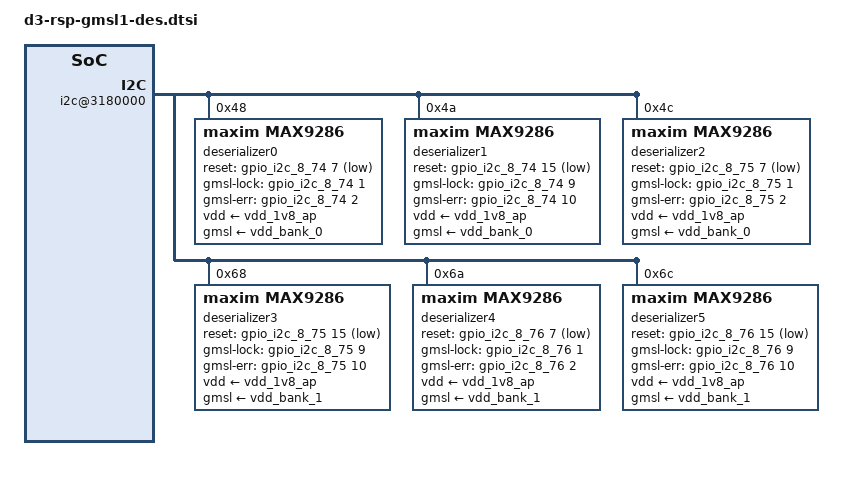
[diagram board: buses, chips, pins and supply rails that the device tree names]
/*
 * Copyright (c) 2018-2019, D3 Engineering. All rights reserved.
 *
 * This program is free software; you can redistribute it and/or modify
 * it under the terms of the GNU General Public License as published by
 * the Free Software Foundation; version 2 of the License.
 *
 * This program is distributed in the hope that it will be useful, but WITHOUT
 * ANY WARRANTY; without even the implied warranty of MERCHANTABILITY or
 * FITNESS FOR A PARTICULAR PURPOSE.  See the GNU General Public License for
 * more details.
 */

/ {
	/* I2C_CAM, DT alias i2c2 (clock: C6, data: D6) */
	i2c@3180000 {
		deserializer0: deserializer@48 {
			status = "okay";
			compatible = "maxim,max9286";
			reg = <0x48>;
			#address-cells = <1>;
			#size-cells = <0>;
			vdd-supply = <&vdd_1v8_ap>;
			gmsl-supply = <&vdd_bank_0>;
			reset-gpios = <&gpio_i2c_8_74 7 GPIO_ACTIVE_LOW>;
			gmsl-lock-gpios = <&gpio_i2c_8_74 1 GPIO_ACTIVE_HIGH>;
			gmsl-err-gpios = <&gpio_i2c_8_74 2 GPIO_ACTIVE_HIGH>;
			csi-tx-speed-mbps = <1600>;
			csi-lane-count = <2>;
			csi-continuous-clock = <1>;
			/* interrupt-parent = <&gpio_i2c_8_74>; */
			/* interrupts = <1 IRQ_TYPE_EDGE_BOTH 2 IRQ_TYPE_EDGE_BOTH>; */
			ser-addr = <0x41 0x40>;
			img-addr = <0x11 0x10>;

			/* Include this flag to configure the imager to capture triggered
			 * frames based on an external frame sync signal coming into the
			 * deserializer */
			// frame-sync-mode;

			gmsl_link0: link@0 {
				reg = <0>;
				#address-cells = <1>;
				#size-cells = <0>;
			};
		};
		deserializer1: deserializer@4a {
			status = "okay";
			compatible = "maxim,max9286";
			reg = <0x4a>;
			#address-cells = <1>;
			#size-cells = <0>;
			vdd-supply = <&vdd_1v8_ap>;
			gmsl-supply = <&vdd_bank_0>;
			reset-gpios = <&gpio_i2c_8_74 15 GPIO_ACTIVE_LOW>;
			gmsl-lock-gpios = <&gpio_i2c_8_74 9 GPIO_ACTIVE_HIGH>;
			gmsl-err-gpios = <&gpio_i2c_8_74 10 GPIO_ACTIVE_HIGH>;
			csi-tx-speed-mbps = <1600>;
			csi-lane-count = <2>;
			csi-continuous-clock = <1>;
			/* interrupt-parent = <&gpio_i2c_8_74>; */
			/* interrupts = <9 IRQ_TYPE_EDGE_BOTH 0xa IRQ_TYPE_EDGE_BOTH>; */
			ser-addr = <0x42 0x40>;
			img-addr = <0x12 0x10>;
			// frame-sync-mode;

			gmsl_link1: link@0 {
				reg = <0>;
				#address-cells = <1>;
				#size-cells = <0>;
			};
		};
		deserializer2: deserializer@4c {
			status = "okay";
			compatible = "maxim,max9286";
			reg = <0x4c>;
			#address-cells = <1>;
			#size-cells = <0>;
			vdd-supply = <&vdd_1v8_ap>;
			gmsl-supply = <&vdd_bank_0>;
			reset-gpios = <&gpio_i2c_8_75 7 GPIO_ACTIVE_LOW>;
			gmsl-lock-gpios = <&gpio_i2c_8_75 1 GPIO_ACTIVE_HIGH>;
			gmsl-err-gpios = <&gpio_i2c_8_75 2 GPIO_ACTIVE_HIGH>;
			csi-tx-speed-mbps = <1600>;
			csi-lane-count = <2>;
			csi-continuous-clock = <1>;
			/* interrupt-parent = <&gpio_i2c_8_75>; */
			/* interrupts = <1 IRQ_TYPE_EDGE_BOTH 2 IRQ_TYPE_EDGE_BOTH>; */
			ser-addr = <0x43 0x40>;
			img-addr = <0x13 0x10>;
			// frame-sync-mode;

			gmsl_link2: link@0 {
				reg = <0>;
				#address-cells = <1>;
				#size-cells = <0>;
			};
		};
		deserializer3: deserializer@68 {
			status = "okay";
			compatible = "maxim,max9286";
			reg = <0x68>;
			#address-cells = <1>;
			#size-cells = <0>;
			vdd-supply = <&vdd_1v8_ap>;
			gmsl-supply = <&vdd_bank_1>;
			reset-gpios = <&gpio_i2c_8_75 15 GPIO_ACTIVE_LOW>;
			gmsl-lock-gpios = <&gpio_i2c_8_75 9 GPIO_ACTIVE_HIGH>;
			gmsl-err-gpios = <&gpio_i2c_8_75 10 GPIO_ACTIVE_HIGH>;
			csi-tx-speed-mbps = <1600>;
			csi-lane-count = <2>;
			csi-continuous-clock = <1>;
			/* interrupt-parent = <&gpio_i2c_8_75>; */
			/* interrupts = <9 IRQ_TYPE_EDGE_BOTH 0xa IRQ_TYPE_EDGE_BOTH>; */
			ser-addr = <0x44 0x40>;
			img-addr = <0x14 0x10>;
			// frame-sync-mode;

			gmsl_link3: link@0 {
				reg = <0>;
				#address-cells = <1>;
				#size-cells = <0>;
			};
		};
		deserializer4: deserializer@6a {
			status = "okay";
			compatible = "maxim,max9286";
			reg = <0x6a>;
			#address-cells = <1>;
			#size-cells = <0>;
			vdd-supply = <&vdd_1v8_ap>;
			gmsl-supply = <&vdd_bank_1>;
			reset-gpios = <&gpio_i2c_8_76 7 GPIO_ACTIVE_LOW>;
			gmsl-lock-gpios = <&gpio_i2c_8_76 1 GPIO_ACTIVE_HIGH>;
			gmsl-err-gpios = <&gpio_i2c_8_76 2 GPIO_ACTIVE_HIGH>;
			csi-tx-speed-mbps = <1600>;
			csi-lane-count = <2>;
			csi-continuous-clock = <1>;
			/* interrupt-parent = <&gpio_i2c_8_76>; */
			/* interrupts = <1 IRQ_TYPE_EDGE_BOTH 2 IRQ_TYPE_EDGE_BOTH>; */
			//gmsl-bit-rates = <6000 187>;
			ser-addr = <0x45 0x40>;
			img-addr = <0x15 0x10>;
			// frame-sync-mode;

			gmsl_link4: link@0 {
				reg = <0>;
				#address-cells = <1>;
				#size-cells = <0>;
			};
		};
		deserializer5: deserializer@6c {
			status = "okay";
			compatible = "maxim,max9286";
			reg = <0x6c>;
			#address-cells = <1>;
			#size-cells = <0>;
			vdd-supply = <&vdd_1v8_ap>;
			gmsl-supply = <&vdd_bank_1>;
			reset-gpios = <&gpio_i2c_8_76 15 GPIO_ACTIVE_LOW>;
			gmsl-lock-gpios = <&gpio_i2c_8_76 9 GPIO_ACTIVE_HIGH>;
			gmsl-err-gpios = <&gpio_i2c_8_76 10 GPIO_ACTIVE_HIGH>;
			csi-tx-speed-mbps = <1600>;
			csi-lane-count = <2>;
			csi-continuous-clock = <1>;
			/* interrupt-parent = <&gpio_i2c_8_76>; */
			/* interrupts = <9 IRQ_TYPE_EDGE_BOTH 0xa IRQ_TYPE_EDGE_BOTH>; */
			ser-addr = <0x46 0x40>;
			img-addr = <0x16 0x10>;
			// frame-sync-mode;

			gmsl_link5: link@0 {
				reg = <0>;
				#address-cells = <1>;
				#size-cells = <0>;
			};
		};
	};
};
